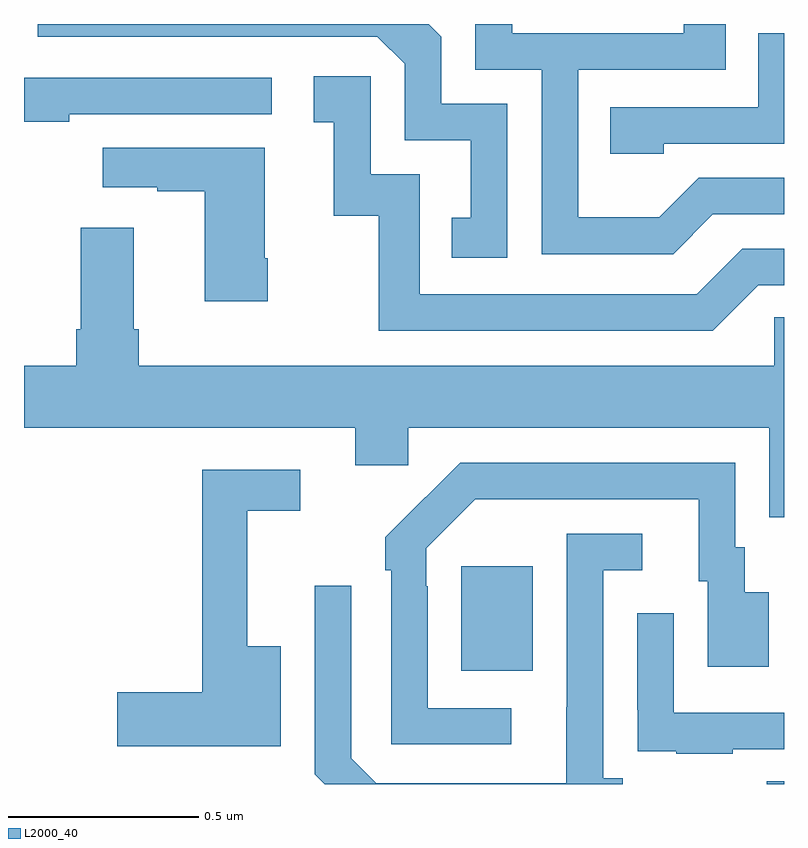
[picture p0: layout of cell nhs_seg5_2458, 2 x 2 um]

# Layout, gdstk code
import gdstk
lib = gdstk.Library(unit=1e-6, precision=1e-09)
def R(c, l, rs):  # rectangles x0, y0, x1, y1
    for r in rs: c.add(gdstk.rectangle(r[:2], r[2:], *l))
def P(c, l, *ps):  # polygons
    for p in ps: c.add(gdstk.Polygon(p, *l))
L2000_40 = (2000, 40)

nhs_seg5_2458 = lib.new_cell('nhs_seg5_2458')
R(nhs_seg5_2458, L2000_40, [(145.954,879.799,146,879.806), (145.151,880.097,145.339,880.372)])
P(nhs_seg5_2458, L2000_40, [(145.813,881.298),(146,881.298),(146,881.394),(145.776,881.394),(145.672,881.29),(145.458,881.29),(145.458,881.679),(145.847,881.679),(145.847,881.799),(145.736,881.799),(145.736,881.775),(145.285,881.775),(145.285,881.799),(145.188,881.799),(145.188,881.679),(145.362,881.679),(145.362,881.193),(145.708,881.193)],
  [(145.272,881.589),(145.098,881.589),(145.098,881.766),(145.065,881.799),(144.036,881.799),(144.036,881.766),(144.93,881.766),(145.002,881.694),(145.002,881.493),(145.175,881.493),(145.175,881.289),(145.126,881.289),(145.126,881.184),(145.272,881.184)],
  [(145.683,881.484),(146,881.484),(146,881.775),(145.932,881.775),(145.932,881.58),(145.543,881.58),(145.543,881.457),(145.683,881.457)],
  [(145.932,881.112),(146,881.112),(146,881.208),(145.89,881.208),(145.77,881.088),(145.041,881.088),(145.041,881.403),(144.912,881.403),(144.912,881.662),(144.762,881.662),(144.762,881.541),(144.815,881.541),(144.815,881.295),(144.933,881.295),(144.933,880.992),(145.812,880.992)],
  [(144.119,881.562),(144.652,881.562),(144.652,881.658),(144,881.658),(144,881.542),(144.119,881.542)],
  [(144.642,881.182),(144.634,881.182),(144.634,881.473),(144.207,881.473),(144.207,881.369),(144.35,881.369),(144.35,881.359),(144.476,881.359),(144.476,881.07),(144.642,881.07)],
  [(146,881.027),(145.974,881.027),(145.974,880.9),(144.302,880.9),(144.302,880.996),(144.289,880.996),(144.289,881.263),(144.149,881.263),(144.149,880.996),(144.137,880.996),(144.137,880.9),(144,880.9),(144,880.736),(144.872,880.736),(144.872,880.638),(145.011,880.638),(145.011,880.736),(145.961,880.736),(145.961,880.501),(146,880.501)],
  [(145.282,879.999),(145.062,879.999),(145.062,880.319),(145.059,880.319),(145.059,880.419),(145.188,880.548),(145.775,880.548),(145.775,880.332),(145.799,880.332),(145.799,880.107),(145.96,880.107),(145.96,880.303),(145.897,880.303),(145.897,880.422),(145.872,880.422),(145.872,880.644),(145.148,880.644),(145.057,880.553),(145.056,880.554),(144.951,880.449),(144.951,880.361),(144.966,880.361),(144.966,879.903),(145.282,879.903)],
  [(144.676,880.162),(144.587,880.162),(144.587,880.518),(144.727,880.518),(144.727,880.626),(144.469,880.626),(144.469,880.04),(144.246,880.04),(144.246,879.898),(144.676,879.898)],
  [(145.576,879.814),(145.524,879.814),(145.524,880.362),(145.627,880.362),(145.627,880.458),(145.428,880.458),(145.428,880.001),(145.427,880.001),(145.427,879.801),(144.927,879.801),(144.861,879.867),(144.861,880.321),(144.765,880.321),(144.765,879.825),(144.791,879.799),(145.576,879.799)],
  [(145.865,879.891),(146,879.891),(146,879.987),(145.71,879.987),(145.71,880.249),(145.614,880.249),(145.614,879.994),(145.615,879.994),(145.615,879.885),(145.717,879.885),(145.717,879.879),(145.865,879.879)])

lib.write_gds('nhs_seg5_2458.gds')
